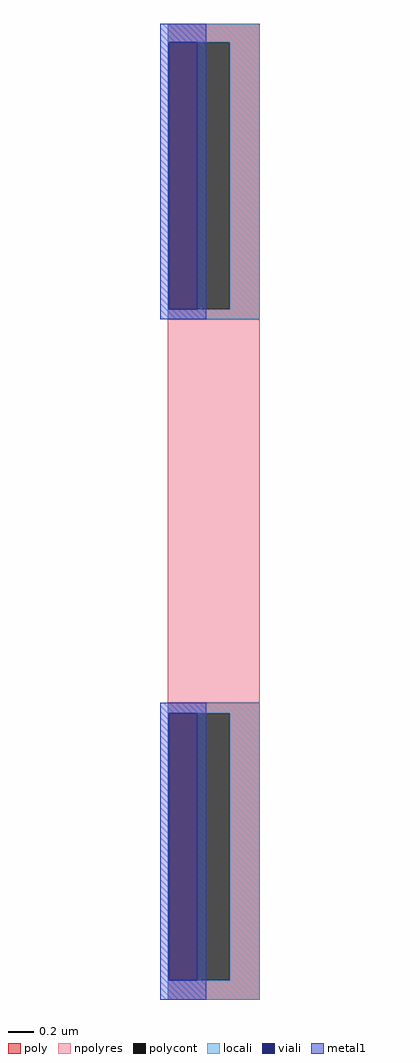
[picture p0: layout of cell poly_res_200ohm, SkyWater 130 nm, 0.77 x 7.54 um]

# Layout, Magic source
magic
tech sky130A
magscale 1 2
<< poly >>
rect -414 1402 -272 1431
rect -414 990 -368 1402
rect -318 990 -272 1402
rect -414 974 -272 990
rect -414 366 -272 382
rect -414 -46 -368 366
rect -318 -46 -272 366
rect -414 -76 -272 -46
<< polycont >>
rect -368 990 -318 1402
rect -368 -46 -318 366
<< npolyres >>
rect -414 382 -272 974
<< locali >>
rect -414 1402 -272 1431
rect -414 990 -412 1402
rect -318 990 -272 1402
rect -414 974 -272 990
rect -414 366 -272 382
rect -414 -46 -412 366
rect -318 -46 -272 366
rect -414 -76 -272 -46
<< viali >>
rect -412 990 -368 1402
rect -412 -46 -368 366
<< metal1 >>
rect -425 1402 -354 1431
rect -425 990 -412 1402
rect -368 990 -354 1402
rect -425 974 -354 990
rect -425 366 -354 382
rect -425 -46 -412 366
rect -368 -46 -354 366
rect -425 -76 -354 -46
<< end >>
